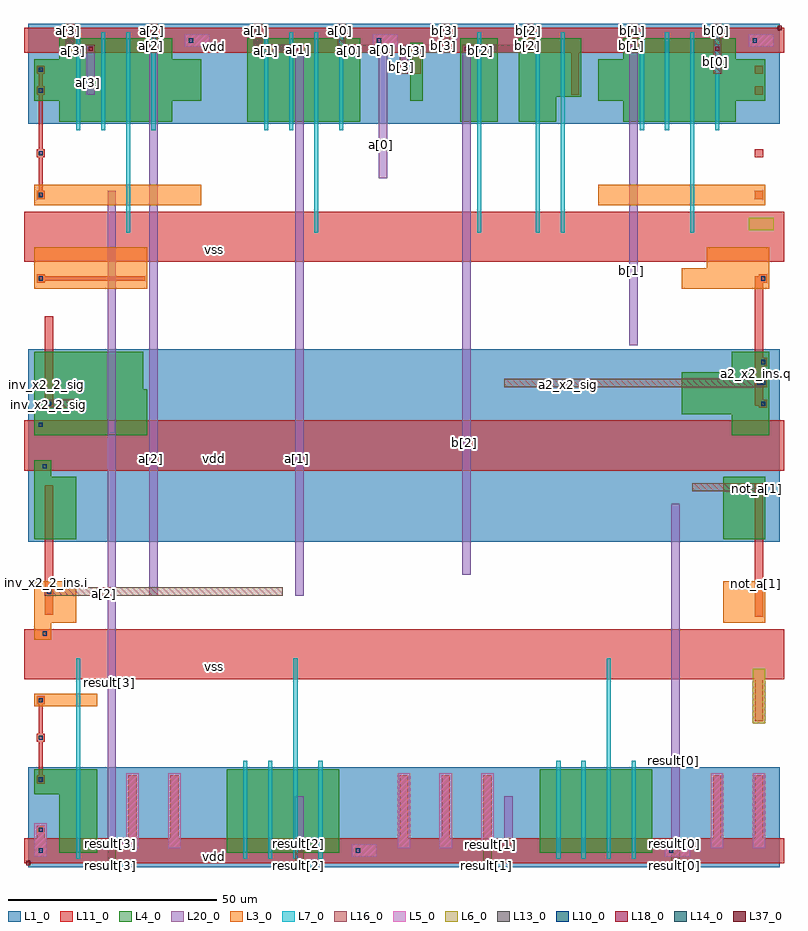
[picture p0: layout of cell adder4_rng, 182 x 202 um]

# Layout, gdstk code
import gdstk
lib = gdstk.Library(unit=1e-6, precision=2.5e-07)
def R(c, l, rs):  # rectangles x0, y0, x1, y1
    for r in rs: c.add(gdstk.rectangle(r[:2], r[2:], *l))
def A(c, l, x, y, w, h, nx, ny, dx, dy):  # array of equal rectangles
    R(c, l, [(x+i*dx, y+j*dy, x+i*dx+w, y+j*dy+h) for i in range(nx) for j in range(ny)])
L1_0 = (1, 0)
L3_0 = (3, 0)
L4_0 = (4, 0)
L5_0 = (5, 0)
L6_0 = (6, 0)
L7_0 = (7, 0)
L10_0 = (10, 0)
L11_0 = (11, 0)
L13_0 = (13, 0)
L14_0 = (14, 0)
L16_0 = (16, 0)
L18_0 = (18, 0)
L20_0 = (20, 0)
L37_0 = (37, 0)

adder4_rng = lib.new_cell('adder4_rng')
R(adder4_rng, L1_0, [(0,-1,180,23), (0,77,180,123), (0,177,180,201)])
R(adder4_rng, L3_0, [(1.5,37.5,16.5,40.5), (1.5,53.5,5.5,67.5), (1.5,57.5,11.5,67.5), (166.5,57.5,176.5,67.5), (1.5,137.5,28.5,147.5), (156.5,137.5,177.5,142.5), (162.5,137.5,177.5,147.5), (1.5,157.5,41.5,162.5), (136.5,157.5,176.5,162.5)])
R(adder4_rng, L4_0, [(7.5,2.5,16.5,22.5), (47.5,2.5,74.5,22.5), (122.5,2.5,149.5,22.5), (1.5,16.5,16.5,22.5), (1.5,77.5,5.5,96.5), (1.5,77.5,11.5,92.5), (166.5,77.5,176.5,92.5), (1.5,102.5,27.5,122.5), (1.5,102.5,28.5,113.5), (168.5,102.5,177.5,122.5), (156.5,107.5,177.5,117.5), (7.5,177.5,34.5,197.5), (52.5,177.5,79.5,197.5), (103.5,177.5,112.5,197.5), (117.5,177.5,126.5,197.5), (142.5,177.5,169.5,197.5), (1.5,182.5,41.5,192.5), (91.5,182.5,94.5,196.5), (136.5,182.5,176.5,192.5), (117.5,183.5,132.5,197.5)])
A(adder4_rng, L5_0, 88.5, 3.5, 3, 18, 3, 1, 10, 0)
R(adder4_rng, L5_0, [(1.5,1.5,4.5,9.5), (77.5,1.5,83.5,4.5), (152.5,1.5,158.5,4.5), (23.5,3.5,26.5,21.5), (33.5,3.5,36.5,21.5), (163.5,3.5,166.5,21.5), (173.5,3.5,176.5,21.5), (37.5,195.5,43.5,198.5), (82.5,195.5,88.5,198.5), (172.5,195.5,178.5,198.5)])
R(adder4_rng, L6_0, [(173.5,33.5,176.5,46.5), (172.5,151.5,178.5,154.5)])
R(adder4_rng, L7_0, [(11.5,1,12.5,49), (51.5,1,52.5,24.5), (57.5,1,58.5,24.5), (63.5,1,64.5,49), (69.5,1,70.5,24.5), (126.5,1,127.5,24.5), (132.5,1,133.5,24.5), (138.5,1,139.5,49), (144.5,1,145.5,24.5), (23.5,151,24.5,199), (68.5,151,69.5,199), (107.5,151,108.5,199), (121.5,151,122.5,199), (127.5,151,128.5,199), (158.5,151,159.5,199), (11.5,175.5,12.5,199), (17.5,175.5,18.5,199), (29.5,175.5,30.5,199), (56.5,175.5,57.5,199), (62.5,175.5,63.5,199), (74.5,175.5,75.5,199), (146.5,175.5,147.5,199), (152.5,175.5,153.5,199), (164.5,175.5,165.5,199)])
A(adder4_rng, L10_0, 175.5, 109.5, 1, 1, 1, 3, 0, 5)
R(adder4_rng, L10_0, [(2.5,2.5,3.5,3.5), (78.5,2.5,79.5,3.5), (153.5,2.5,154.5,3.5), (2.5,7.5,3.5,8.5), (2.5,19.5,3.5,20.5), (2.5,29.5,3.5,30.5), (2.5,38.5,3.5,39.5), (3.5,54.5,4.5,55.5), (3.5,94.5,4.5,95.5), (2.5,104.5,3.5,105.5), (2.5,139.5,3.5,140.5), (175.5,139.5,176.5,140.5), (2.5,159.5,3.5,160.5), (2.5,169.5,3.5,170.5), (2.5,184.5,3.5,185.5), (2.5,189.5,3.5,190.5), (38.5,196.5,39.5,197.5), (83.5,196.5,84.5,197.5), (173.5,196.5,174.5,197.5)])
A(adder4_rng, L11_0, 89, 0, 2, 21, 3, 1, 10, 0)
A(adder4_rng, L11_0, -1, 44, 182, 12, 1, 3, 0, 50)
R(adder4_rng, L11_0, [(-1,0,181,6), (2,0,4,9), (24,0,26,21), (34,0,36,21), (164,0,166,21), (174,0,176,21), (2,19,4,21), (2.5,19,3.5,40), (2,29,4,31), (174,34,176,56), (2,38,4,40), (174,59,176,91), (4,59.5,6,90.5), (4,109,6,131), (175,109,176,141), (175,109,177,111), (174,109.5,176,140.5), (174,109.5,177,111), (174,114,177,116), (174,119,177,121), (2,139,4,141), (174,139,177,140.5), (175,139,177,141), (2,139.5,28,140.5), (2,159,4,161), (2.5,159,3.5,191), (174,159,176,161), (2,169,4,171), (174,169,176,171), (2,184,4,186), (130,184,132,200), (174,184,176,186), (2,189,4,191), (92,189,94,200), (174,189,176,191), (-1,194,181,200)])
R(adder4_rng, L13_0, [(19.5,-1,20.5,1), (19.5,-1,20.5,1), (64.5,-1,65.5,1), (64.5,-1,65.5,1), (109.5,-1,110.5,1), (109.5,-1,110.5,1), (154.5,-1,155.5,1), (154.5,-1,155.5,1), (9.5,199,10.5,201), (9.5,199,10.5,201), (29.5,199,30.5,201), (29.5,199,30.5,201), (54.5,199,55.5,201), (54.5,199,55.5,201), (74.5,199,75.5,201), (74.5,199,75.5,201), (99.5,199,100.5,201), (99.5,199,100.5,201), (119.5,199,120.5,201), (119.5,199,120.5,201), (144.5,199,145.5,201), (144.5,199,145.5,201), (164.5,199,165.5,201), (164.5,199,165.5,201)])
R(adder4_rng, L14_0, [(4.5,64.5,5.5,65.5), (174.5,89.5,175.5,90.5), (4.5,109.5,5.5,110.5), (174.5,114.5,175.5,115.5)])
A(adder4_rng, L16_0, 19, -1, 2, 7, 4, 1, 45, 0)
R(adder4_rng, L16_0, [(109,4,116,6), (4,64,61,66), (159,89,176,91), (4,109,11,111), (114,114,176,116), (89,189,91,196), (164,189,166,201), (9,194,16,196), (9,194,11,201), (29,194,31,201), (54,194,66,196), (54,194,56,201), (74,194,86,196), (74,194,76,201), (89,194,101,196), (99,194,101,201), (104,194,121,196), (119,194,121,201), (144,194,146,201)])
R(adder4_rng, L18_0, [(19.5,4.5,20.5,5.5), (64.5,4.5,65.5,5.5), (114.5,4.5,115.5,5.5), (154.5,4.5,155.5,5.5), (14.5,194.5,15.5,195.5), (29.5,194.5,30.5,195.5), (64.5,194.5,65.5,195.5), (84.5,194.5,85.5,195.5), (89.5,194.5,90.5,195.5), (104.5,194.5,105.5,195.5), (144.5,194.5,145.5,195.5), (164.5,194.5,165.5,195.5)])
R(adder4_rng, L20_0, [(19,4,21,161), (64,4,66,16), (114,4,116,16), (154,4,156,86), (29,64,31,196), (64,64,66,196), (104,69,106,196), (144,124,146,196), (84,164,86,196), (14,184,16,196), (89,189,91,196), (164,189,166,196)])
R(adder4_rng, L37_0, [(-0.5,-0.5,0.5,0.5), (179.5,199.5,180.5,200.5)])
adder4_rng.add(gdstk.Label('inv_x2_2_ins.i', (4.5,67.25), layer=11, texttype=0))
adder4_rng.add(gdstk.Label('a2_x2_ins.q', (174.5,117.25), layer=11, texttype=0))
adder4_rng.add(gdstk.Label('vdd', (44.5,1.5), layer=11, texttype=0))
adder4_rng.add(gdstk.Label('vss', (44.5,47), layer=11, texttype=0))
adder4_rng.add(gdstk.Label('vdd', (44.5,97), layer=11, texttype=0))
adder4_rng.add(gdstk.Label('vss', (44.5,147), layer=11, texttype=0))
adder4_rng.add(gdstk.Label('vdd', (44.5,195.5), layer=11, texttype=0))
adder4_rng.add(gdstk.Label('not_a[1]', (174.5,67), layer=11, texttype=0))
adder4_rng.add(gdstk.Label('inv_x2_2_sig', (4.5,114.5), layer=11, texttype=0))
adder4_rng.add(gdstk.Label('a2_x2_sig', (174.75,114.5), layer=11, texttype=0))
adder4_rng.add(gdstk.Label('result[3]', (19.75,-0.5), layer=13, texttype=0))
adder4_rng.add(gdstk.Label('obs', (19.75,-0.5), layer=13, texttype=0))
adder4_rng.add(gdstk.Label('result[2]', (64.75,-0.5), layer=13, texttype=0))
adder4_rng.add(gdstk.Label('obs', (64.75,-0.5), layer=13, texttype=0))
adder4_rng.add(gdstk.Label('result[1]', (109.75,-0.5), layer=13, texttype=0))
adder4_rng.add(gdstk.Label('obs', (109.75,-0.5), layer=13, texttype=0))
adder4_rng.add(gdstk.Label('result[0]', (154.75,-0.5), layer=13, texttype=0))
adder4_rng.add(gdstk.Label('obs', (154.75,-0.5), layer=13, texttype=0))
adder4_rng.add(gdstk.Label('a[3]', (9.75,199.5), layer=13, texttype=0))
adder4_rng.add(gdstk.Label('obs', (9.75,199.5), layer=13, texttype=0))
adder4_rng.add(gdstk.Label('a[2]', (29.75,199.5), layer=13, texttype=0))
adder4_rng.add(gdstk.Label('obs', (29.75,199.5), layer=13, texttype=0))
adder4_rng.add(gdstk.Label('a[1]', (54.75,199.5), layer=13, texttype=0))
adder4_rng.add(gdstk.Label('obs', (54.75,199.5), layer=13, texttype=0))
adder4_rng.add(gdstk.Label('a[0]', (74.75,199.5), layer=13, texttype=0))
adder4_rng.add(gdstk.Label('obs', (74.75,199.5), layer=13, texttype=0))
adder4_rng.add(gdstk.Label('b[3]', (99.75,199.5), layer=13, texttype=0))
adder4_rng.add(gdstk.Label('obs', (99.75,199.5), layer=13, texttype=0))
adder4_rng.add(gdstk.Label('b[2]', (119.75,199.5), layer=13, texttype=0))
adder4_rng.add(gdstk.Label('obs', (119.75,199.5), layer=13, texttype=0))
adder4_rng.add(gdstk.Label('b[1]', (144.75,199.5), layer=13, texttype=0))
adder4_rng.add(gdstk.Label('obs', (144.75,199.5), layer=13, texttype=0))
adder4_rng.add(gdstk.Label('b[0]', (164.75,199.5), layer=13, texttype=0))
adder4_rng.add(gdstk.Label('obs', (164.75,199.5), layer=13, texttype=0))
adder4_rng.add(gdstk.Label('a[2]', (4.75,64.75), layer=14, texttype=0))
adder4_rng.add(gdstk.Label('not_a[1]', (174.75,89.75), layer=14, texttype=0))
adder4_rng.add(gdstk.Label('inv_x2_2_sig', (4.75,109.75), layer=14, texttype=0))
adder4_rng.add(gdstk.Label('a2_x2_sig', (174.75,114.75), layer=14, texttype=0))
adder4_rng.add(gdstk.Label('result[1]', (110.75,4.5), layer=16, texttype=0))
adder4_rng.add(gdstk.Label('a[2]', (18.25,64.5), layer=16, texttype=0))
adder4_rng.add(gdstk.Label('not_a[1]', (163.25,89.5), layer=16, texttype=0))
adder4_rng.add(gdstk.Label('inv_x2_2_sig', (5.75,109.5), layer=16, texttype=0))
adder4_rng.add(gdstk.Label('a2_x2_sig', (129.5,114.5), layer=16, texttype=0))
adder4_rng.add(gdstk.Label('a[3]', (10.75,194.5), layer=16, texttype=0))
adder4_rng.add(gdstk.Label('a[1]', (57,194.5), layer=16, texttype=0))
adder4_rng.add(gdstk.Label('a[0]', (77,194.5), layer=16, texttype=0))
adder4_rng.add(gdstk.Label('b[3]', (92,194.5), layer=16, texttype=0))
adder4_rng.add(gdstk.Label('b[2]', (108.25,194.5), layer=16, texttype=0))
adder4_rng.add(gdstk.Label('a[3]', (9.5,195.75), layer=16, texttype=0))
adder4_rng.add(gdstk.Label('result[3]', (19.5,0.75), layer=16, texttype=0))
adder4_rng.add(gdstk.Label('a[2]', (29.5,195.75), layer=16, texttype=0))
adder4_rng.add(gdstk.Label('a[1]', (54.5,195.75), layer=16, texttype=0))
adder4_rng.add(gdstk.Label('result[2]', (64.5,0.75), layer=16, texttype=0))
adder4_rng.add(gdstk.Label('a[0]', (74.5,195.75), layer=16, texttype=0))
adder4_rng.add(gdstk.Label('b[3]', (89.5,190.75), layer=16, texttype=0))
adder4_rng.add(gdstk.Label('b[3]', (99.5,195.75), layer=16, texttype=0))
adder4_rng.add(gdstk.Label('result[1]', (109.5,0.75), layer=16, texttype=0))
adder4_rng.add(gdstk.Label('b[2]', (119.5,195.75), layer=16, texttype=0))
adder4_rng.add(gdstk.Label('b[1]', (144.5,195.75), layer=16, texttype=0))
adder4_rng.add(gdstk.Label('result[0]', (154.5,0.75), layer=16, texttype=0))
adder4_rng.add(gdstk.Label('b[0]', (164.5,192), layer=16, texttype=0))
adder4_rng.add(gdstk.Label('a[3]', (14.75,194.75), layer=18, texttype=0))
adder4_rng.add(gdstk.Label('result[3]', (19.75,4.75), layer=18, texttype=0))
adder4_rng.add(gdstk.Label('a[2]', (29.75,194.75), layer=18, texttype=0))
adder4_rng.add(gdstk.Label('result[2]', (64.75,4.75), layer=18, texttype=0))
adder4_rng.add(gdstk.Label('a[1]', (64.75,194.75), layer=18, texttype=0))
adder4_rng.add(gdstk.Label('a[0]', (84.75,194.75), layer=18, texttype=0))
adder4_rng.add(gdstk.Label('b[3]', (89.75,194.75), layer=18, texttype=0))
adder4_rng.add(gdstk.Label('b[2]', (104.75,194.75), layer=18, texttype=0))
adder4_rng.add(gdstk.Label('result[1]', (114.75,4.75), layer=18, texttype=0))
adder4_rng.add(gdstk.Label('b[1]', (144.75,194.75), layer=18, texttype=0))
adder4_rng.add(gdstk.Label('result[0]', (154.75,4.75), layer=18, texttype=0))
adder4_rng.add(gdstk.Label('b[0]', (164.75,194.75), layer=18, texttype=0))
adder4_rng.add(gdstk.Label('a[3]', (14.5,187), layer=20, texttype=0))
adder4_rng.add(gdstk.Label('result[3]', (19.5,43.25), layer=20, texttype=0))
adder4_rng.add(gdstk.Label('a[2]', (29.5,97), layer=20, texttype=0))
adder4_rng.add(gdstk.Label('result[2]', (64.5,7), layer=20, texttype=0))
adder4_rng.add(gdstk.Label('a[1]', (64.5,97), layer=20, texttype=0))
adder4_rng.add(gdstk.Label('a[0]', (84.5,172), layer=20, texttype=0))
adder4_rng.add(gdstk.Label('b[3]', (89.5,190.75), layer=20, texttype=0))
adder4_rng.add(gdstk.Label('b[2]', (104.5,100.75), layer=20, texttype=0))
adder4_rng.add(gdstk.Label('result[1]', (114.5,7), layer=20, texttype=0))
adder4_rng.add(gdstk.Label('b[1]', (144.5,142), layer=20, texttype=0))
adder4_rng.add(gdstk.Label('result[0]', (154.5,24.5), layer=20, texttype=0))
adder4_rng.add(gdstk.Label('b[0]', (164.5,190.75), layer=20, texttype=0))
adder4_rng.add(gdstk.Label('nero.grid.origin', (-0.25,-0.25), layer=37, texttype=0))
adder4_rng.add(gdstk.Label('nero.grid.limit', (179.75,199.75), layer=37, texttype=0))

lib.write_gds('adder4_rng.gds')
